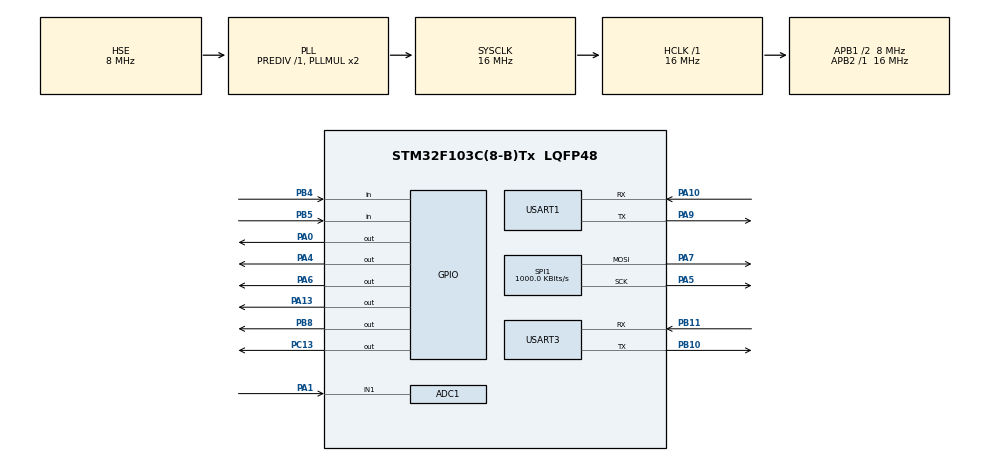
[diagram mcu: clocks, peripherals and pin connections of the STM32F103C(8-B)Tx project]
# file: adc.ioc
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ADC1.Channel-4\#ChannelRegularConversion=ADC_CHANNEL_1
ADC1.NbrOfConversionFlag=1
ADC1.Rank-4\#ChannelRegularConversion=1
ADC1.SamplingTime-4\#ChannelRegularConversion=ADC_SAMPLETIME_1CYCLE_5
ADC1.master=1
Mcu.Family=STM32F1
Mcu.Name=STM32F103C(8-B)Tx
Mcu.Package=LQFP48
NVIC.PriorityGroup=NVIC_PRIORITYGROUP_4
NVIC.RTC_IRQn=true\:0\:0\:false\:false\:true\:true\:true\:true
NVIC.TIM2_IRQn=true\:0\:0\:false\:false\:true\:true\:true\:true
PA0-WKUP.Signal=GPIO_Output
PA1.Signal=ADCx_IN1
PA10.Mode=Asynchronous
PA10.Signal=USART1_RX
PA13.Signal=GPIO_Output
PA4.Signal=GPIO_Output
PA5.Mode=TX_Only_Simplex_Unidirect_Master
PA5.Signal=SPI1_SCK
PA6.Signal=GPIO_Output
PA7.Mode=TX_Only_Simplex_Unidirect_Master
PA7.Signal=SPI1_MOSI
PA9.Mode=Asynchronous
PA9.Signal=USART1_TX
PB10.Mode=Asynchronous
PB10.Signal=USART3_TX
PB11.Mode=Asynchronous
PB11.Signal=USART3_RX
PB4.Signal=GPIO_Input
PB5.Signal=GPIO_Input
PB8.Signal=GPIO_Output
PC13-TAMPER-RTC.Signal=GPIO_Output
PC14-OSC32_IN.Mode=LSE-External-Oscillator
PC14-OSC32_IN.Signal=RCC_OSC32_IN
PC15-OSC32_OUT.Mode=LSE-External-Oscillator
PC15-OSC32_OUT.Signal=RCC_OSC32_OUT
PD0-OSC_IN.Mode=HSE-External-Oscillator
PD0-OSC_IN.Signal=RCC_OSC_IN
PD1-OSC_OUT.Mode=HSE-External-Oscillator
PD1-OSC_OUT.Signal=RCC_OSC_OUT
ProjectManager.HeapSize=0x200
ProjectManager.StackSize=0x400
ProjectManager.TargetToolchain=MDK-ARM V5.32
RCC.AHBFreq_Value=16000000
RCC.APB1CLKDivider=RCC_HCLK_DIV2
RCC.APB1Freq_Value=8000000
RCC.APB1TimFreq_Value=16000000
RCC.APB2Freq_Value=16000000
RCC.APB2TimFreq_Value=16000000
RCC.HCLKFreq_Value=16000000
RCC.PLLSourceVirtual=RCC_PLLSOURCE_HSE
RCC.SYSCLKFreq_VALUE=16000000
RCC.SYSCLKSource=RCC_SYSCLKSOURCE_PLLCLK
RCC.USBFreq_Value=16000000
SH.ADCx_IN1.0=ADC1_IN1,IN1
SPI1.BaudRatePrescaler=SPI_BAUDRATEPRESCALER_16
SPI1.CLKPhase=SPI_PHASE_2EDGE
SPI1.CLKPolarity=SPI_POLARITY_HIGH
SPI1.CalculateBaudRate=1000.0 KBits/s
SPI1.Direction=SPI_DIRECTION_2LINES
SPI1.Mode=SPI_MODE_MASTER
SPI1.VirtualType=VM_MASTER
TIM2.Period=1000
TIM2.Prescaler=16
USART1.VirtualMode=VM_ASYNC
USART3.VirtualMode=VM_ASYNC
VP_RTC_No_RTC_Output.Mode=RTC_OUT_NO
VP_RTC_VS_RTC_Activate.Mode=RTC_Enabled
VP_RTC_VS_RTC_Calendar.Mode=RTC_Calendar
VP_SYS_VS_ND.Mode=No_Debug
VP_TIM2_VS_ClockSourceINT.Mode=Internal
board=custom

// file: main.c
/* USER CODE BEGIN Header */
/**
  ******************************************************************************
  * @file           : main.c
  * @brief          : Main program body
  ******************************************************************************
  * @attention
  *
  * Copyright (c) 2022 STMicroelectronics.
  * All rights reserved.
  *
  * This software is licensed under terms that can be found in the LICENSE file
  * in the root directory of this software component.
  * If no LICENSE file comes with this software, it is provided AS-IS.
  *
  ******************************************************************************
  */
/* USER CODE END Header */
#include "main.h"
#include "adc.h"
#include "rtc.h"
#include "spi.h"
#include "tim.h"
#include "usart.h"
#include "gpio.h"

/* USER CODE BEGIN Includes */
uint8_t zt[4];
uint8_t Rx_buf = 0;	//串口字符接收变量
uint8_t Rx_Flag = 0;	//串口接收正确数据标志位
uint8_t string[4];	//sprintf函数字符缓冲数组
uint16_t ADC_Value = 0;	//AD采集量化值变量
float ADC_Volt = 0;	//AD采集电压值变量
#include "oled.h"
#include "bmp.h"
#include "key.h"
#include "beep.h"
int refresh_tags = 0;
int flag = 0;
int jump_mark = 0;
int n = 0;
int start_point_x = 15;
int speed = 0;
int serial_port_speed = 0;
int ad_speed = 0;
int ms = 0;
int hour = 0;
int sec = 1;
int minu = 0;
int countdown_sign = 0;
int press_sign = 0;
int key_interruption = 10;
double	num1;
#define LEFT 2
#define RIGHT 3
unsigned char bx, by, hx, hy;
/* USER CODE END Includes */

/* USER CODE BEGIN PM */
RTC_DateTypeDef GetData;

RTC_TimeTypeDef GetTime;
int fputc(int ch, FILE *f) {
	uint8_t temp[1] = {ch};
	HAL_UART_Transmit(&huart1, temp, 1, 2);
	return ch;
}

/* USER CODE END PM */

void SystemClock_Config(void);

int main(void) {

	/* MCU Configuration--------------------------------------------------------*/

	/* Reset of all peripherals, Initializes the Flash interface and the Systick. */
	HAL_Init();

	/* Configure the system clock */
	SystemClock_Config();

	/* Initialize all configured peripherals */
	MX_GPIO_Init();
	MX_SPI1_Init();
	MX_USART1_UART_Init();
	MX_ADC1_Init();
	MX_RTC_Init();
	MX_USART3_UART_Init();
	MX_TIM2_Init();
	/* USER CODE BEGIN 2 */
	OLED_Init();

	HAL_TIM_Base_Start_IT(&htim2);
	/* USER CODE END 2 */

	/* Infinite loop */
	/* USER CODE BEGIN WHILE */
	HAL_ADCEx_Calibration_Start(&hadc1);    //AD校准
	HAL_ADC_Start(&hadc1);
	while (1) {
		/* USER CODE END WHILE */

		/* USER CODE BEGIN 3 */
		HAL_RTC_GetTime(&hrtc, &GetTime, RTC_FORMAT_BIN);//获取时间
		/* Get the RTC current Date */
		HAL_RTC_GetDate(&hrtc, &GetData, RTC_FORMAT_BIN);//获取日期
		switch (flag) {
			case 0:
				//	OLED_ShowString(0 ,0,(unsigned char *)"The voltage is:",16);
				//	  OLED_ShowNum(0,20,ADC_Value*3.3/4095*100/100,1,16);
				//		OLED_ShowString(20 ,20,(unsigned char *)".",16);
				//		OLED_ShowNum(30,20,(int)(ADC_Value*3.3/4095*10)%10,1,16);
				//		OLED_ShowNum(40,20,(int)(ADC_Value*3.3/4095*100)%100,1,16);
				//		OLED_ShowString(50 ,20,(unsigned char *)"V",16);
				OLED_WR_Byte(0xa1, OLED_CMD);
				OLED_ShowNum(0, 0, 2020, 4, 16);
				OLED_ShowString(33, 0, (unsigned char *)"-", 16);
				OLED_ShowNum(40, 0, GetData.Month, 2, 16);

				OLED_ShowNum(0, 20, GetTime.Hours, 2, 16);
				OLED_ShowString(16, 20, (unsigned char *)":", 16);
				OLED_ShowNum(20, 20, GetTime.Minutes, 2, 16);
				OLED_ShowString(36, 20, (unsigned char *)":", 16);
				OLED_ShowNum(40, 20, GetTime.Seconds, 2, 16);
				//		 printf("%02d:%02d:%02d\r\n",GetTime.Hours, GetTime.Minutes, GetTime.Seconds);
				if (HAL_GPIO_ReadPin(GPIOA, GPIO_PIN_8) == GPIO_PIN_RESET) {
					OLED_WR_Byte(0xa1, OLED_CMD);
					OLED_ShowNum(0, 0, 2020, 4, 16);
					OLED_ShowString(33, 0, (unsigned char *)"-", 16);
					OLED_ShowNum(40, 0, GetData.Month, 2, 16);
					if (GetTime.Hours >= 0 && GetTime.Hours < 12) {
						OLED_ShowNum(0, 20, GetTime.Hours, 2, 16);

					} else if (GetTime.Hours == 12) {
						OLED_ShowNum(0, 20, GetTime.Hours, 2, 16);
					} else {
						OLED_ShowNum(0, 20, GetTime.Hours - 12, 2, 16);

					}

					OLED_ShowString(16, 20, (unsigned char *)":", 16);
					OLED_ShowNum(20, 20, GetTime.Minutes, 2, 16);
					OLED_ShowString(36, 20, (unsigned char *)":", 16);
					OLED_ShowNum(40, 20, GetTime.Seconds, 2, 16);
				}
				break;
			case 1:
				OLED_WR_Byte(0xa1, OLED_CMD);
				OLED_ShowNum(0, 0, ADC_Value * 3.3 / 4095 * 100 / 100, 1, 16);
				OLED_ShowString(20, 0, (unsigned char *)".", 16);
				OLED_ShowNum(30, 0, (int)(ADC_Value * 3.3 / 4095 * 10) % 10, 1, 16);
				OLED_ShowNum(40, 0, (int)(ADC_Value * 3.3 / 4095 * 100) % 100, 1, 16);
				OLED_ShowNum(0, 32, (3.1 - 3.3 / 4095 * ADC_Value) / 0.0043 + 15, 2, 16);
				OLED_ShowString(50, 0, (unsigned char *)"V", 16);
				if (ADC_Value > 1800) {
					OLED_DrawPoint(refresh_tags % 127, 35 + (ADC_Value - 1280) / 10);
				}
				break;
			case 2:

				//	h=(t/10)/3600;
				//    m=(t/10)%3600/60;
				//    s=(t/10)%60;
				//	if(t>180000){t=0;}
				//	if(s%10==0&&s>1){
				//	fs(250);//1
				//		HAL_GPIO_WritePin(GPIOC, GPIO_PIN_13,GPIO_PIN_RESET);
				//
				//	}

				OLED_DrawSquare((0 + start_point_x) % 127, 50, (10 + start_point_x) % 127, 60);
				OLED_DrawSquare((50 + start_point_x) % 127, 50, (60 + start_point_x) % 127, 60);
				OLED_DrawSquare((100 + start_point_x) % 127, 50, (110 + start_point_x) % 127, 60);

				if (jump_mark == 0) {
					OLED_ShowPicture(0, 0, 128, 8, BMP4);
				} else {
					OLED_ShowPicture(0, 0, 128, 8, BMP5);
					n++;
					if (n > 30) {
						jump_mark = 0;
						n = 0;
					}
				}
				speed++;
				if (speed > 5) {
					start_point_x = start_point_x + 2;
					speed = 0;
					OLED_Clear();
				}

				if (start_point_x == 128) {
					start_point_x = 0;
				}
				if (HAL_GPIO_ReadPin(GPIOA, GPIO_PIN_8) == GPIO_PIN_RESET) {
					jump_mark = 1;
				}
				if (jump_mark == 0 && start_point_x % 65 == 0) {

					flag = 4;

				}
				break;
			case 4:
				OLED_ShowString(0, 0, (unsigned char *)"GAME", 12);
				OLED_ShowString(0, 32, (unsigned char *)"OVER", 12);
				OLED_WR_Byte(0xa1, OLED_CMD);
				ms = 0;

				break;
			case 6:

				hour = (ms / 10) / 3600;
				minu = (ms / 10) % 3600 / 60;
				sec = (ms / 10) % 60;
				OLED_ShowNum(0, 0, minu, 2, 16);
				OLED_ShowString(16, 0, (unsigned char *)":", 16);
				OLED_ShowNum(20, 0, sec, 2, 16);
				OLED_DrawLine(0, 60, 127, 60);
				if (HAL_GPIO_ReadPin(GPIOA, GPIO_PIN_8) == GPIO_PIN_RESET) {
					HAL_Delay(1);
					press_sign = 1;
					while (press_sign == 1) {
						if (HAL_GPIO_ReadPin(GPIOA, GPIO_PIN_8) == GPIO_PIN_SET) {
							ms = ms + 10;
							key_interruption = 10;
							press_sign = 0;
						}
						if (key_interruption <= 0 && HAL_GPIO_ReadPin(GPIOA, GPIO_PIN_8) == GPIO_PIN_RESET) {
							countdown_sign = 1;
							press_sign = 0;
							fs(250);
						}
					}

				}
				if (ms == 0) {
					countdown_sign = 0;
					fs(250);
					ms = 10;
				}
				break;
			default:

				break;
		}
		OLED_Refresh ();
		flag = key(flag);

		HAL_ADC_Start_IT(&hadc1);

		refresh_tags++;
		if (refresh_tags == 127) {
			OLED_Clear();
			refresh_tags = 0;
		}

		num1 = (3.1 - 3.3 / 4095 * ADC_Value) / 0.0043 + 15;
		//		sprintf((char *)string, "ADC_Value: %d, ADC_Volt: %.2fV\r\n",ADC_Value , ADC_Value*3.3/4095);	//利用sprintf函数，发送AD采集的数据
		sprintf((char *)string, "%lf\n", num1 );

		if (serial_port_speed > 100) {
			HAL_UART_Transmit(&huart3, string, sizeof(string), 10000);	//串口2发送数据

			serial_port_speed = 0;

		}

		if (ad_speed > 5) {
			ADC_Value = HAL_ADC_GetValue(&hadc1);
			ad_speed = 0;
		}
	}
	/* USER CODE END 3 */
}

void SystemClock_Config(void) {
	RCC_OscInitTypeDef RCC_OscInitStruct = {0};
	RCC_ClkInitTypeDef RCC_ClkInitStruct = {0};
	RCC_PeriphCLKInitTypeDef PeriphClkInit = {0};

	/** Initializes the RCC Oscillators according to the specified parameters
	* in the RCC_OscInitTypeDef structure.
	*/
	RCC_OscInitStruct.OscillatorType = RCC_OSCILLATORTYPE_LSI | RCC_OSCILLATORTYPE_HSE;
	RCC_OscInitStruct.HSEState = RCC_HSE_ON;
	RCC_OscInitStruct.HSEPredivValue = RCC_HSE_PREDIV_DIV1;
	RCC_OscInitStruct.HSIState = RCC_HSI_ON;
	RCC_OscInitStruct.LSIState = RCC_LSI_ON;
	RCC_OscInitStruct.PLL.PLLState = RCC_PLL_ON;
	RCC_OscInitStruct.PLL.PLLSource = RCC_PLLSOURCE_HSE;
	RCC_OscInitStruct.PLL.PLLMUL = RCC_PLL_MUL2;
	if (HAL_RCC_OscConfig(&RCC_OscInitStruct) != HAL_OK) {
		Error_Handler();
	}

	/** Initializes the CPU, AHB and APB buses clocks
	*/
	RCC_ClkInitStruct.ClockType = RCC_CLOCKTYPE_HCLK | RCC_CLOCKTYPE_SYSCLK
	                              | RCC_CLOCKTYPE_PCLK1 | RCC_CLOCKTYPE_PCLK2;
	RCC_ClkInitStruct.SYSCLKSource = RCC_SYSCLKSOURCE_PLLCLK;
	RCC_ClkInitStruct.AHBCLKDivider = RCC_SYSCLK_DIV1;
	RCC_ClkInitStruct.APB1CLKDivider = RCC_HCLK_DIV2;
	RCC_ClkInitStruct.APB2CLKDivider = RCC_HCLK_DIV1;

	if (HAL_RCC_ClockConfig(&RCC_ClkInitStruct, FLASH_LATENCY_0) != HAL_OK) {
		Error_Handler();
	}
	PeriphClkInit.PeriphClockSelection = RCC_PERIPHCLK_RTC | RCC_PERIPHCLK_ADC;
	PeriphClkInit.RTCClockSelection = RCC_RTCCLKSOURCE_LSI;
	PeriphClkInit.AdcClockSelection = RCC_ADCPCLK2_DIV2;
	if (HAL_RCCEx_PeriphCLKConfig(&PeriphClkInit) != HAL_OK) {
		Error_Handler();
	}
}

/* USER CODE BEGIN 4 */
void HAL_TIM_PeriodElapsedCallback(TIM_HandleTypeDef *htim) {
	static uint32_t time_cnt = 0;

	if (htim->Instance == TIM2) {
		if (++time_cnt >= 100) { //0.1s
			serial_port_speed++;
			ad_speed++;
			time_cnt = 0;
			if (press_sign == 1 && key_interruption > 0) {
				key_interruption--;

			}
			if (countdown_sign == 1 && ms > 0) {
				ms--;
			}
		}
	}

}

/* USER CODE END 4 */

void Error_Handler(void) {
	__disable_irq();
	while (1) {
	}
}
